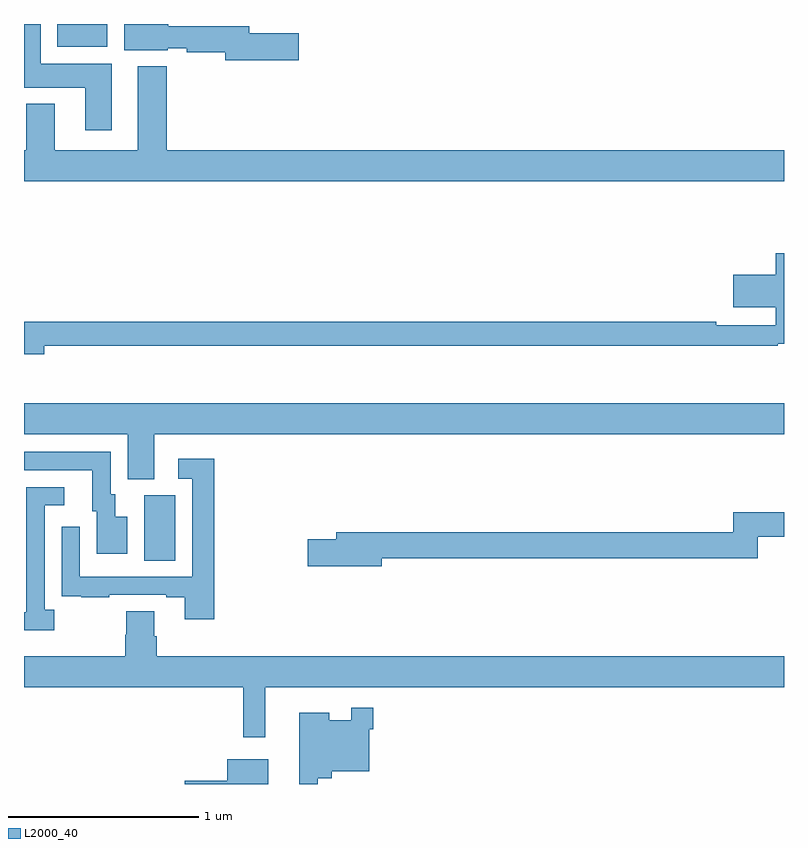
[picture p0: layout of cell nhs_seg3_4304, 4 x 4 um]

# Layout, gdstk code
import gdstk
lib = gdstk.Library(unit=1e-6, precision=1e-09)
def R(c, l, rs):  # rectangles x0, y0, x1, y1
    for r in rs: c.add(gdstk.rectangle(r[:2], r[2:], *l))
def P(c, l, *ps):  # polygons
    for p in ps: c.add(gdstk.Polygon(p, *l))
L2000_40 = (2000, 40)

nhs_seg3_4304 = lib.new_cell('nhs_seg3_4304')
R(nhs_seg3_4304, L2000_40, [(339.632,709.576,339.796,709.92), (339.176,712.28,339.439,712.4)])
P(nhs_seg3_4304, L2000_40, [(340.447,712.352),(340.186,712.352),(340.186,712.388),(339.76,712.388),(339.76,712.4),(339.527,712.4),(339.527,712.262),(339.756,712.262),(339.756,712.272),(339.856,712.272),(339.856,712.252),(340.058,712.252),(340.058,712.21),(340.447,712.21)],
  [(339.463,712.192),(339.088,712.192),(339.088,712.4),(339,712.4),(339,712.064),(339.323,712.064),(339.323,711.84),(339.463,711.84)],
  [(343,711.736),(339.752,711.736),(339.752,712.177),(339.599,712.177),(339.599,711.736),(339.163,711.736),(339.163,711.979),(339.011,711.979),(339.011,711.736),(339,711.736),(339,711.572),(343,711.572)],
  [(339.106,710.706),(342.968,710.706),(342.968,710.718),(343,710.718),(343,711.193),(342.956,711.193),(342.956,711.08),(342.732,711.08),(342.732,710.909),(342.956,710.909),(342.956,710.814),(342.644,710.814),(342.644,710.834),(339,710.834),(339,710.663),(339.106,710.663)],
  [(339.685,710.24),(343,710.24),(343,710.404),(339,710.404),(339,710.24),(339.545,710.24),(339.545,710.005),(339.685,710.005)],
  [(339.544,709.807),(339.481,709.807),(339.481,709.926),(339.456,709.926),(339.456,710.148),(339,710.148),(339,710.052),(339.359,710.052),(339.359,709.836),(339.383,709.836),(339.383,709.611),(339.544,709.611)],
  [(340.001,710.113),(339.813,710.113),(339.813,710.007),(339.885,710.007),(339.885,709.491),(339.294,709.491),(339.294,709.753),(339.198,709.753),(339.198,709.498),(339.199,709.498),(339.199,709.389),(339.301,709.389),(339.301,709.383),(339.449,709.383),(339.449,709.395),(339.749,709.395),(339.749,709.383),(339.845,709.383),(339.845,709.266),(340.001,709.266)],
  [(339.16,709.318),(339.108,709.318),(339.108,709.866),(339.211,709.866),(339.211,709.962),(339.012,709.962),(339.012,709.505),(339.011,709.505),(339.011,709.305),(339,709.305),(339,709.208),(339.16,709.208)],
  [(340.882,709.588),(342.862,709.588),(342.862,709.702),(343,709.702),(343,709.831),(342.733,709.831),(342.733,709.724),(340.643,709.724),(340.643,709.688),(340.494,709.688),(340.494,709.546),(340.882,709.546)],
  [(339.538,709.31),(339.538,709.185),(339.533,709.185),(339.533,709.072),(339,709.072),(339,708.908),(340.153,708.908),(340.153,708.645),(340.27,708.645),(340.27,708.908),(343,708.908),(343,709.072),(339.698,709.072),(339.698,709.178),(339.685,709.178),(339.685,709.31)],
  [(340.545,708.431),(340.619,708.431),(340.619,708.467),(340.818,708.467),(340.818,708.689),(340.838,708.689),(340.838,708.802),(340.722,708.802),(340.722,708.736),(340.606,708.736),(340.606,708.775),(340.448,708.775),(340.448,708.4),(340.545,708.4)],
  [(340.285,708.529),(340.07,708.529),(340.07,708.416),(339.846,708.416),(339.846,708.4),(340.285,708.4)])

lib.write_gds('nhs_seg3_4304.gds')
